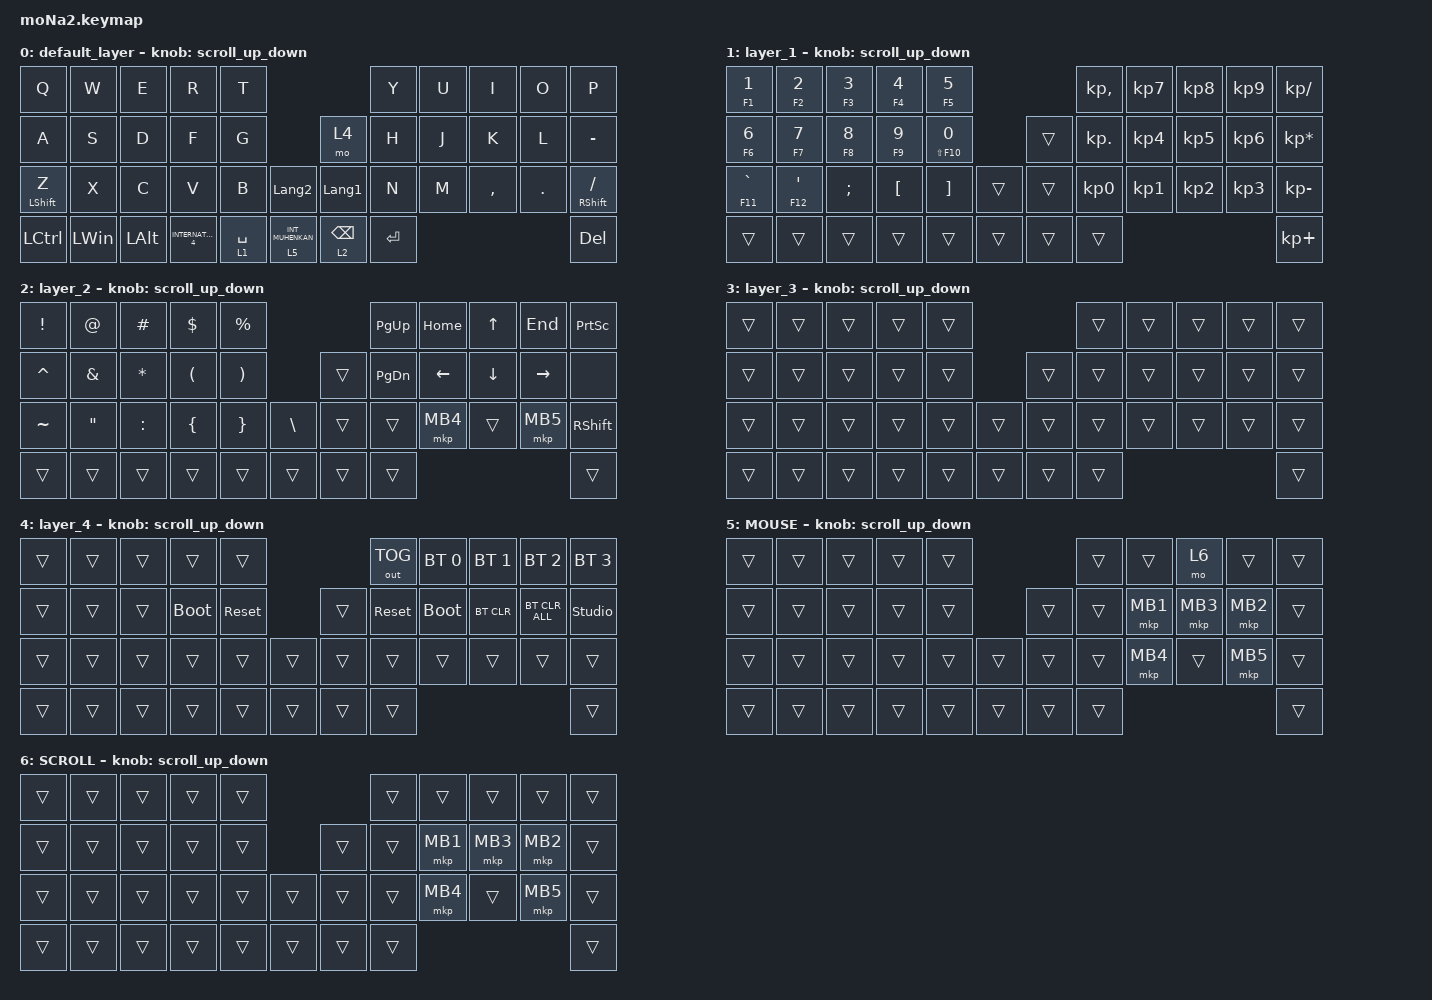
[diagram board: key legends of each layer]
#include <behaviors.dtsi>
#include <dt-bindings/zmk/bt.h>
#include <dt-bindings/zmk/keys.h>
#include <dt-bindings/zmk/outputs.h>
#include <dt-bindings/zmk/pointing.h>

#define ZMK_POINTING_DEFAULT_SCRL_VAL 100
#define MOUSE 5
#define SCROLL 6

&mt {
    flavor = "balanced";
    quick-tap-ms = <0>;
};

&lt { quick-tap-ms = <200>; };

/ {
    combos {
        compatible = "zmk,combos";

        COMBO_ESC {
            bindings = <&kp ESCAPE>;
            key-positions = <0 1>;
        };

        COMBO_TAB {
            bindings = <&kp TAB>;
            key-positions = <10 11>;
        };
    };

    macros {
        to_layer_0: to_layer_0 {
            compatible = "zmk,behavior-macro-one-param";
            #binding-cells = <1>;
            bindings = <&to 0 &macro_param_1to1 &kp MACRO_PLACEHOLDER>;
            label = "TO_LAYER_0";
        };
    };

    behaviors {
        lt_to_layer_0: lt_to_layer_0 {
            compatible = "zmk,behavior-hold-tap";
            label = "LAYER_TAP_TO_0";
            bindings = <&mo>, <&to_layer_0>;

            #binding-cells = <2>;
            tapping-term-ms = <200>;
        };

        scroll_up_down: behavior_sensor_rotate_mouse_wheel_up_down {
            compatible = "zmk,behavior-sensor-rotate";
            #sensor-binding-cells = <0>;
            bindings = <&msc SCRL_UP>, <&msc SCRL_DOWN>;

            tap-ms = <20>;
        };

        mt2: mod_tap2 {
            compatible = "zmk,behavior-hold-tap";
            bindings = <&kp>, <&kp>;

            #binding-cells = <2>;
            tapping-term-ms = <200>;
            quick-tap-ms = <200>;
            require-prior-idle-ms = <125>;
            flavor = "tap-preferred";
        };
    };

    keymap {
        compatible = "zmk,keymap";

        default_layer {
            bindings = <
&kp Q             &kp W         &kp E         &kp R                &kp T                                               &kp Y      &kp U  &kp I      &kp O    &kp P
&kp A             &kp S         &kp D         &kp F                &kp G                              &mo 4            &kp H      &kp J  &kp K      &kp L    &kp MINUS
&mt LEFT_SHIFT Z  &kp X         &kp C         &kp V                &kp B        &kp LANGUAGE_2        &kp LANGUAGE_1   &kp N      &kp M  &kp COMMA  &kp DOT  &mt RSHIFT SLASH
&kp LCTRL         &kp LEFT_WIN  &kp LEFT_ALT  &kp INTERNATIONAL_4  &lt 1 SPACE  &lt 5 INT_MUHENKAN    &lt 2 BACKSPACE  &kp ENTER                             &kp DEL
            >;

            sensor-bindings = <&scroll_up_down>;
        };

        layer_1 {
            bindings = <
&mt2 F1 N1     &mt2 F2 N2   &mt2 F3 N3     &mt2 F4 N4        &mt2 F5 N5                           &kp KP_COMMA     &kp KP_NUMBER_7  &kp KP_NUMBER_8  &kp KP_NUMBER_9  &kp KP_DIVIDE
&mt2 F6 N6     &mt2 F7 N7   &mt2 F8 N8     &mt2 F9 N9        &mt2 LS(F10) N0              &trans  &kp KP_DOT       &kp KP_NUMBER_4  &kp KP_NUMBER_5  &kp KP_NUMBER_6  &kp KP_MULTIPLY
&mt F11 GRAVE  &mt F12 SQT  &kp SEMICOLON  &kp LEFT_BRACKET  &kp RIGHT_BRACKET  &trans    &trans  &kp KP_NUMBER_0  &kp KP_NUMBER_1  &kp KP_NUMBER_2  &kp KP_NUMBER_3  &kp KP_MINUS
&trans         &trans       &trans         &trans            &trans             &trans    &trans  &trans                                                              &kp KP_PLUS
            >;

            sensor-bindings = <&scroll_up_down>;
        };

        layer_2 {
            bindings = <
&kp EXCLAMATION  &kp AT_SIGN        &kp HASH      &kp DOLLAR            &kp PERCENT                                &kp PAGE_UP    &kp HOME  &kp UP_ARROW  &kp END          &kp PRINTSCREEN
&kp CARET        &kp AMPERSAND      &kp ASTERISK  &kp LEFT_PARENTHESIS  &kp RIGHT_PARENTHESIS              &trans  &kp PAGE_DOWN  &kp LEFT  &kp DOWN      &kp RIGHT_ARROW  &none
&kp TILDE        &kp DOUBLE_QUOTES  &kp COLON     &kp LEFT_BRACE        &kp RIGHT_BRACE        &kp BSLH    &trans  &trans         &mkp MB4  &trans        &mkp MB5         &kp RSHIFT
&trans           &trans             &trans        &trans                &trans                 &trans      &trans  &trans                                                  &trans
            >;

            sensor-bindings = <&scroll_up_down>;
        };

        layer_3 {
            bindings = <
&trans  &trans  &trans  &trans  &trans                    &trans  &trans  &trans  &trans  &trans
&trans  &trans  &trans  &trans  &trans            &trans  &trans  &trans  &trans  &trans  &trans
&trans  &trans  &trans  &trans  &trans  &trans    &trans  &trans  &trans  &trans  &trans  &trans
&trans  &trans  &trans  &trans  &trans  &trans    &trans  &trans                          &trans
            >;

            sensor-bindings = <&scroll_up_down>;
        };

        layer_4 {
            bindings = <
&trans  &trans  &trans  &trans       &trans                        &out OUT_TOG  &bt BT_SEL 0  &bt BT_SEL 1  &bt BT_SEL 2    &bt BT_SEL 3
&trans  &trans  &trans  &bootloader  &sys_reset            &trans  &sys_reset    &bootloader   &bt BT_CLR    &bt BT_CLR_ALL  &studio_unlock
&trans  &trans  &trans  &trans       &trans      &trans    &trans  &trans        &trans        &trans        &trans          &trans
&trans  &trans  &trans  &trans       &trans      &trans    &trans  &trans                                                    &trans
            >;

            sensor-bindings = <&scroll_up_down>;
        };

        MOUSE {
            bindings = <
&trans  &trans  &trans  &trans  &trans                    &trans  &trans    &mo 6     &trans    &trans
&trans  &trans  &trans  &trans  &trans            &trans  &trans  &mkp MB1  &mkp MB3  &mkp MB2  &trans
&trans  &trans  &trans  &trans  &trans  &trans    &trans  &trans  &mkp MB4  &trans    &mkp MB5  &trans
&trans  &trans  &trans  &trans  &trans  &trans    &trans  &trans                                &trans
            >;

            sensor-bindings = <&scroll_up_down>;
        };

        SCROLL {
            bindings = <
&trans  &trans  &trans  &trans  &trans                    &trans  &trans    &trans    &trans    &trans
&trans  &trans  &trans  &trans  &trans            &trans  &trans  &mkp MB1  &mkp MB3  &mkp MB2  &trans
&trans  &trans  &trans  &trans  &trans  &trans    &trans  &trans  &mkp MB4  &trans    &mkp MB5  &trans
&trans  &trans  &trans  &trans  &trans  &trans    &trans  &trans                                &trans
            >;

            sensor-bindings = <&scroll_up_down>;
        };
    };
};
